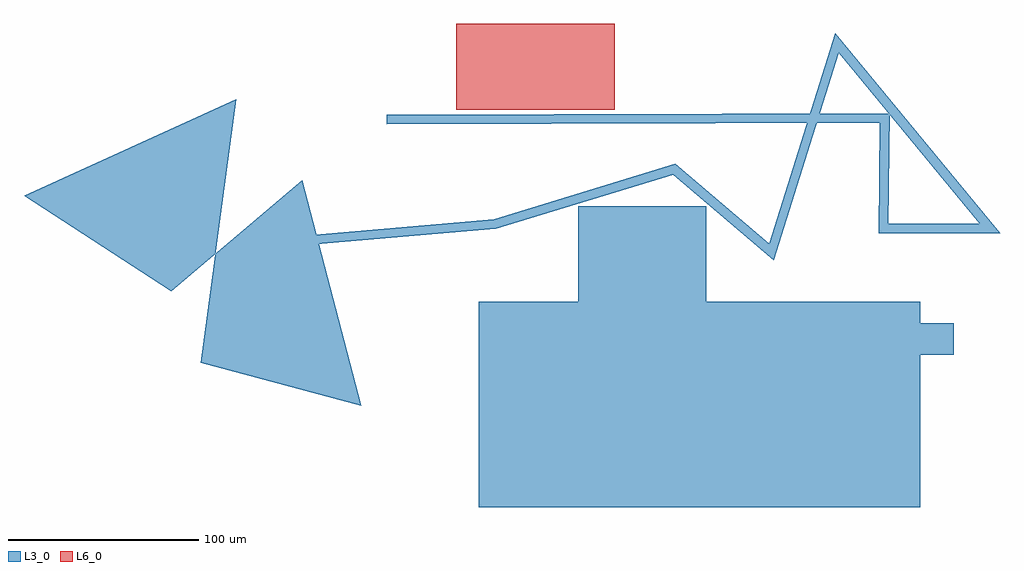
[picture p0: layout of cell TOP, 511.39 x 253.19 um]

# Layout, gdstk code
import gdstk
lib = gdstk.Library(unit=1e-6, precision=1e-09)
def R(c, l, rs):  # rectangles x0, y0, x1, y1
    for r in rs: c.add(gdstk.rectangle(r[:2], r[2:], *l))
def P(c, l, *ps):  # polygons
    for p in ps: c.add(gdstk.Polygon(p, *l))
L3_0 = (3, 0)
L6_0 = (6, 0)

top = lib.new_cell('TOP')
R(top, L3_0, [(-6.008,-80.105,225.297,27.536), (225.297,-0.245,242.87,16.191), (46.061,10.514,113.149,77.602)])
P(top, L3_0, [(-67.589,-27.036),(-151.7,-4.506),(-133.175,133.676),(-244.322,83.109),(-167.22,33.044),(-98.63,91.12)])
R(top, L6_0, [(-17.88,128.026,65.086,173.085)])
top.add(gdstk.FlexPath([(-54.357,123.019),(206.701,123.734),(205.985,65.801),(261.773,65.801),(181.668,163.072),(147.337,53.642),(96.412,96.903),(2.453,68.2),(-106.961,58.878)], 5, ends="flush", simple_path=True, layer=3, datatype=0))  # L3_0

lib.write_gds('TOP.gds')
